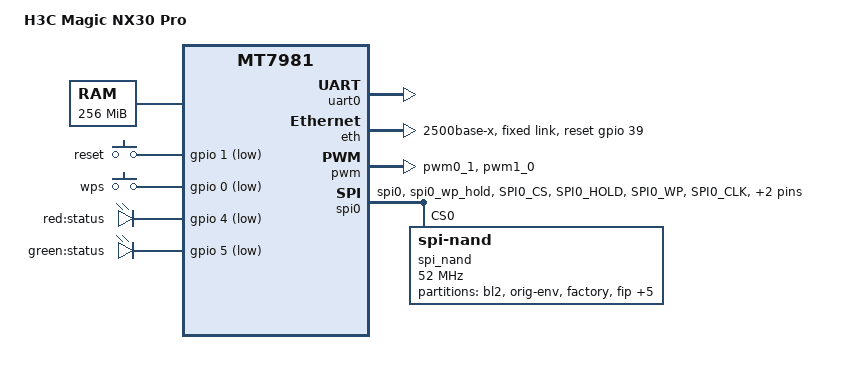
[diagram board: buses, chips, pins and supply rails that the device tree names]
// SPDX-License-Identifier: GPL-2.0
/*
 * Copyright (c) 2022 MediaTek Inc.
 * Author: Sam Shih <sam.shih@mediatek.com>
 */

/dts-v1/;
#include "mt7981.dtsi"
#include <dt-bindings/gpio/gpio.h>
#include <dt-bindings/input/linux-event-codes.h>

/ {
	#address-cells = <1>;
	#size-cells = <1>;
	model = "H3C Magic NX30 Pro";
	compatible = "mediatek,mt7981", "mediatek,mt7981-rfb";

	chosen {
		stdout-path = &uart0;
		tick-timer = &timer0;
	};

	memory@40000000 {
		device_type = "memory";
		reg = <0x40000000 0x10000000>;
	};

	keys {
		compatible = "gpio-keys";

		factory {
			label = "reset";
			linux,code = <KEY_RESTART>;
			gpios = <&gpio 1 GPIO_ACTIVE_LOW>;
		};

		wps {
			label = "wps";
			linux,code = <KEY_WPS_BUTTON>;
			gpios = <&gpio 0 GPIO_ACTIVE_LOW>;
		};
	};

	leds {
		compatible = "gpio-leds";

		status_red {
			label = "red:status";
			gpios = <&gpio 4 GPIO_ACTIVE_LOW>;
		};

		status_green {
			label = "green:status";
			gpios = <&gpio 5 GPIO_ACTIVE_LOW>;
		};
	};
};

&uart0 {
	mediatek,force-highspeed;
	status = "okay";
};

&uart1 {
	pinctrl-names = "default";
	pinctrl-0 = <&uart1_pins>;
	status = "disabled";
};

&eth {
	status = "okay";
	mediatek,gmac-id = <0>;
	phy-mode = "2500base-x";
	mediatek,switch = "mt7531";
	reset-gpios = <&gpio 39 GPIO_ACTIVE_HIGH>;

	fixed-link {
		speed = <2500>;
		full-duplex;
	};
};

&pinctrl {
	spi_flash_pins: spi0-pins-func-1 {
		mux {
			function = "flash";
			groups = "spi0", "spi0_wp_hold";
		};

		conf-pu {
			pins = "SPI0_CS", "SPI0_HOLD", "SPI0_WP";
			drive-strength = <MTK_DRIVE_8mA>;
			bias-pull-up = <MTK_PUPD_SET_R1R0_00>;
		};

		conf-pd {
			pins = "SPI0_CLK", "SPI0_MOSI", "SPI0_MISO";
			drive-strength = <MTK_DRIVE_8mA>;
			bias-pull-down = <MTK_PUPD_SET_R1R0_00>;
		};
	};

	spic_pins: spi1-pins-func-1 {
		mux {
			function = "spi";
			groups = "spi1_1";
		};
	};

	uart1_pins: spi1-pins-func-3 {
		mux {
			function = "uart";
			groups = "uart1_2";
		};
	};

	pwm_pins: pwm0-pins-func-1 {
		mux {
			function = "pwm";
			groups = "pwm0_1", "pwm1_0";
		};
	};
};

&pwm {
	pinctrl-names = "default";
	pinctrl-0 = <&pwm_pins>;
	status = "okay";
};

&spi0 {
	#address-cells = <1>;
	#size-cells = <0>;
	pinctrl-names = "default";
	pinctrl-0 = <&spi_flash_pins>;
	status = "okay";
	must_tx;
	enhance_timing;
	dma_ext;
	ipm_design;
	support_quad;
	tick_dly = <2>;
	sample_sel = <0>;

	spi_nand@0 {
		compatible = "spi-nand";
		reg = <0>;
		spi-max-frequency = <52000000>;

		partitions {
			compatible = "fixed-partitions";
			#address-cells = <1>;
			#size-cells = <1>;

			partition@0 {
				label = "bl2";
				reg = <0x0000000 0x0100000>;
			};

			partition@100000 {
				label = "orig-env";
				reg = <0x0100000 0x0080000>;
			};

			partition@180000 {
				label = "factory";
				reg = <0x0180000 0x0200000>;
			};

			partition@380000 {
				label = "fip";
				reg = <0x0380000 0x0200000>;
			};

			partition@580000 {
				label = "ubi";
				reg = <0x0580000 0x4000000>;
			};

			partition@4580000 {
				label = "pdt_data";
				reg = <0x4580000 0x0600000>;
			};

			partition@4b80000 {
				label = "pdt_data_1";
				reg = <0x4b80000 0x0600000>;
			};

			partition@5180000 {
				label = "exp";
				reg = <0x5180000 0x0100000>;
			};

			partition@5280000 {
				label = "plugin";
				reg = <0x5280000 0x2580000>;
			};
		};
	};
};

&watchdog {
	status = "disabled";
};
